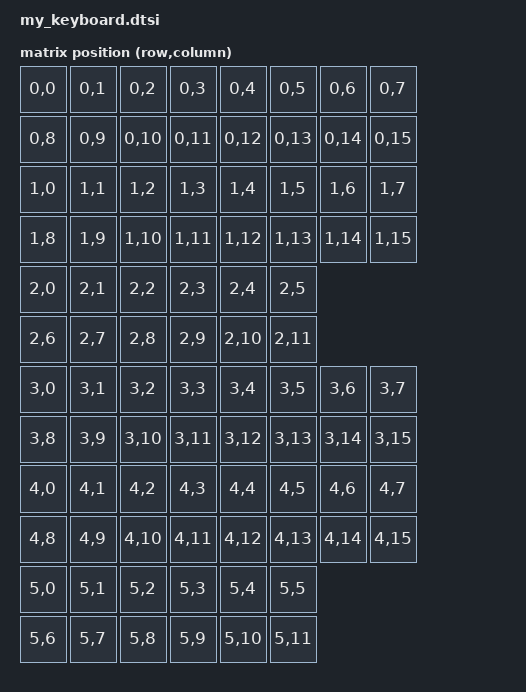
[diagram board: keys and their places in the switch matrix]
#include <dt-bindings/zmk/matrix_transform.h>
#include <dt-bindings/zmk/keys.h>
#include <dt-bindings/led/led.h>
#include <dt-bindings/adc/adc.h>

#define M_RC(row, col) (row * 16 + col)

/ {
    chosen {
        zmk,matrix_transform = &default_transform;
        zmk,underglow = &led_strip;
    };

    kscan_forwarder: kscan_forwarder {
        compatible = "he,kscan-forwarder";
    };

    he_pass: he_pass {
        compatible = "he,input-processor-adjustable-actuation";
        #input-processor-cells = <1>;
        sensitivity = <250>;
        kscan-forwarder = <&kscan_forwarder>;
        kscan-passthrough;
        kscan-passthrough-position = <2000>;
        keymap-size = <88>; // Total keys
    };

    /* Combined 88-key matrix transform (6 rows x 16 columns) */
    /* Left half: Rows 0-2 | Right half: Rows 3-5 */
    default_transform: keymap_transform_0 {
        compatible = "zmk,matrix-transform";
        columns = <16>;
        rows = <6>;
        map = <
            /* Left Half */
            M_RC(0,0) M_RC(0,1) M_RC(0,2) M_RC(0,3) M_RC(0,4) M_RC(0,5) M_RC(0,6) M_RC(0,7)
            M_RC(0,8) M_RC(0,9) M_RC(0,10) M_RC(0,11) M_RC(0,12) M_RC(0,13) M_RC(0,14) M_RC(0,15)
            M_RC(1,0) M_RC(1,1) M_RC(1,2) M_RC(1,3) M_RC(1,4) M_RC(1,5) M_RC(1,6) M_RC(1,7)
            M_RC(1,8) M_RC(1,9) M_RC(1,10) M_RC(1,11) M_RC(1,12) M_RC(1,13) M_RC(1,14) M_RC(1,15)
            M_RC(2,0) M_RC(2,1) M_RC(2,2) M_RC(2,3) M_RC(2,4) M_RC(2,5)
            M_RC(2,6) M_RC(2,7) M_RC(2,8) M_RC(2,9) M_RC(2,10) M_RC(2,11)

            /* Right Half (offset by 3 rows) */
            M_RC(3,0) M_RC(3,1) M_RC(3,2) M_RC(3,3) M_RC(3,4) M_RC(3,5) M_RC(3,6) M_RC(3,7)
            M_RC(3,8) M_RC(3,9) M_RC(3,10) M_RC(3,11) M_RC(3,12) M_RC(3,13) M_RC(3,14) M_RC(3,15)
            M_RC(4,0) M_RC(4,1) M_RC(4,2) M_RC(4,3) M_RC(4,4) M_RC(4,5) M_RC(4,6) M_RC(4,7)
            M_RC(4,8) M_RC(4,9) M_RC(4,10) M_RC(4,11) M_RC(4,12) M_RC(4,13) M_RC(4,14) M_RC(4,15)
            M_RC(5,0) M_RC(5,1) M_RC(5,2) M_RC(5,3) M_RC(5,4) M_RC(5,5)
            M_RC(5,6) M_RC(5,7) M_RC(5,8) M_RC(5,9) M_RC(5,10) M_RC(5,11)
        >;
    };
};

&pinctrl {
    spi3_default: spi3_default {
        group1 {
            psels = <NRF_PSEL(SPIM_SCK, 0, 17)>,
                    <NRF_PSEL(SPIM_MOSI, 0, 6)>; // D2 on Nice!Nano v2
        };
    };

    spi3_sleep: spi3_sleep {
        group1 {
            psels = <NRF_PSEL(SPIM_SCK, 0, 17)>,
                    <NRF_PSEL(SPIM_MOSI, 0, 6)>;
            low-power-enable;
        };
    };
};

&spi3 {
    compatible = "nordic,nrf-spim";
    status = "okay";
    pinctrl-0 = <&spi3_default>;
    pinctrl-1 = <&spi3_sleep>;
    pinctrl-names = "default", "sleep";

    led_strip: ws2812@0 {
        compatible = "worldsemi,ws2812-spi";
        reg = <0>;
        spi-max-frequency = <4000000>;
        chain-length = <10>;
        spi-one-frame = <0x70>;
        spi-zero-frame = <0x40>;
        color-mapping = <LED_COLOR_ID_GREEN LED_COLOR_ID_RED LED_COLOR_ID_BLUE>;
    };
};

&adc {
    status = "okay";
    #address-cells = <1>;
    #size-cells = <0>;

    /* Standard Nice!Nano A1 → P0.03 → AIN1 */
    channel@1 {
        reg = <1>;
        zephyr,gain = "ADC_GAIN_1_4";
        zephyr,reference = "ADC_REF_VDD_1_4";
        zephyr,acquisition-time = <ADC_ACQ_TIME_DEFAULT>;
        zephyr,input-positive = <NRF_SAADC_AIN1>;
        zephyr,resolution = <12>;
    };

    /* Standard Nice!Nano A2 → P0.04 → AIN2 */
    channel@2 {
        reg = <2>;
        zephyr,gain = "ADC_GAIN_1_4";
        zephyr,reference = "ADC_REF_VDD_1_4";
        zephyr,acquisition-time = <ADC_ACQ_TIME_DEFAULT>;
        zephyr,input-positive = <NRF_SAADC_AIN2>;
        zephyr,resolution = <12>;
    };

    /* Standard Nice!Nano A3 → P0.28 → AIN4 */
    channel@4 {
        reg = <4>;
        zephyr,gain = "ADC_GAIN_1_4";
        zephyr,reference = "ADC_REF_VDD_1_4";
        zephyr,acquisition-time = <ADC_ACQ_TIME_DEFAULT>;
        zephyr,input-positive = <NRF_SAADC_AIN4>;
        zephyr,resolution = <12>;
    };
};
